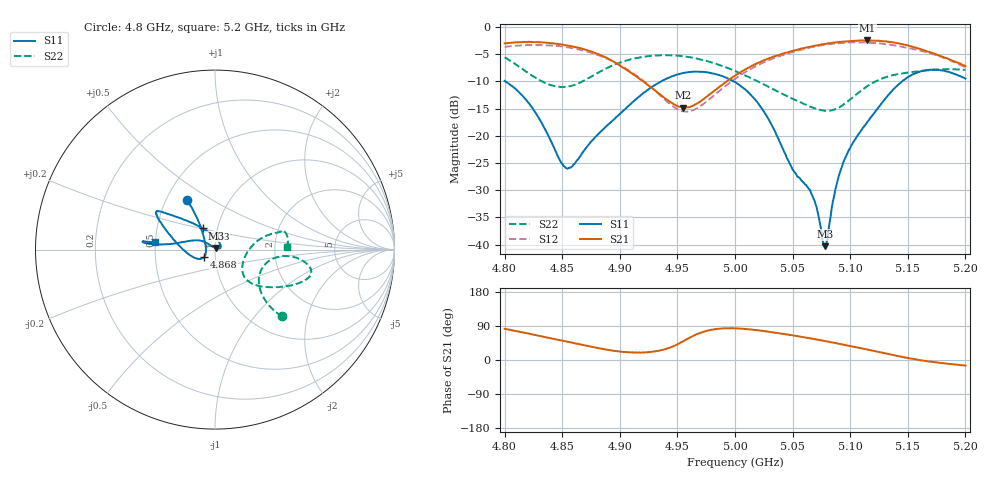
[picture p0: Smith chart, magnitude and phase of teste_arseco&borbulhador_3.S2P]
! Network Analyzer HP8722D
! Hewlett-Packard
! Data name: Linha & Wilkinson
! Saver's name: Rodrigo Anjos
! Comments: Teste da utilização de aquisição
! continua pelo VNA HP8722D
! Time and date: 15/4/2025 15:39
!  Frequency  S11  S21  S12  S22
# HZ  S  MA R 50
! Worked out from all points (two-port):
!   401 points, 4.8 GHz to 5.2 GHz, reference 50 ohm
!   highest |S21| = -2.46 dB at 5.115 GHz (marker M1); lowest = -14.8 dB at 4.955 GHz (marker M2)
!   |S21| within 3 dB of the highest: start of sweep to 4.886 GHz; 5.033 GHz to 5.18 GHz (147.2 MHz wide, 2.88 % of centre)
!   lowest |S11| = -40.3 dB at 5.078 GHz (marker M3), VSWR 1.02, Z = 50.4 + j0.883 ohm
!   |S11| at or under -10 dB: 4.801 GHz to 4.936 GHz (134.9 MHz wide, 2.77 % of centre); 4.999 GHz to 5.145 GHz (146 MHz wide, 2.88 % of centre)
!   |S22| runs from -15.4 to -5.2 dB; largest |S21 - S12| = 1
!   S11 on the Smith chart (normalised r, x): 4.8 GHz: 0.63, +0.39; 4.868 GHz: 0.89, -0.07; 5.03 GHz: 0.85, +0.20; 5.2 GHz: 0.50, +0.05
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4.8e9  0.3201 119.5  0.7088 82.2  0.6579 -12.2  0.5265 -45.0
4.824e9  0.1812 120.4  0.7287 67.5  0.6829 -22.6  0.3566 -43.4
4.852e9  0.05201 168.0  0.6842 49.9  0.6568 -35.8  0.2818 -22.7
4.867e9  0.06841 -147.0  0.6339 40.2  0.612 -43.6  0.315 -10.5
4.868e9  0.07079 -146.5  0.6299 39.5  0.6094 -44.2  0.3177 -9.8
4.903e9  0.1702 -177.8  0.4221 21.5  0.4295 -61.5  0.4828 -6.8
4.934e9  0.3094 156.6  0.2445 24.4  0.2414 -63.1  0.5491 -12.6
4.955e9  0.3785 149.5  0.1817 49.4  0.1682 -37.4  0.5396 -17.4
4.969e9  0.3884 146.9  0.2035 70.7  0.1847 -13.4  0.5067 -21.5
5e9  0.3121 141.8  0.3577 83.3  0.3343 5.5  0.3944 -32.0
5.017e9  0.2187 133.5  0.4536 79.5  0.4307 3.9  0.3274 -38.7
5.03e9  0.1366 120.3  0.5202 74.1  0.5013 0.2  0.2784 -42.7
5.05e9  0.04914 66.1  0.6039 64.8  0.5882 -7.1  0.2195 -42.7
5.067e9  0.02849 15.1  0.6664 56.3  0.6554 -15.2  0.1827 -34.1
5.078e9  0.009671 64.8  0.7004 50.0  0.6864 -21.3  0.1697 -21.5
5.08e9  0.01096 98.9  0.7062 48.8  0.6913 -22.4  0.1697 -18.8
5.087e9  0.03172 135.1  0.7213 44.7  0.7058 -26.8  0.176 -8.3
5.093e9  0.05267 140.6  0.7328 41.2  0.7126 -30.5  0.1894 0.0
5.115e9  0.1346 157.9  0.7535 27.5  0.7208 -44.6  0.2869 14.8
5.134e9  0.2432 172.3  0.7317 15.1  0.6893 -56.4  0.354 15.4
5.164e9  0.3974 174.3  0.6126 -1.8  0.5958 -71.3  0.3982 14.8
5.2e9  0.3363 173.0  0.4374 -14.8  0.4253 -83.4  0.4037 1.9
